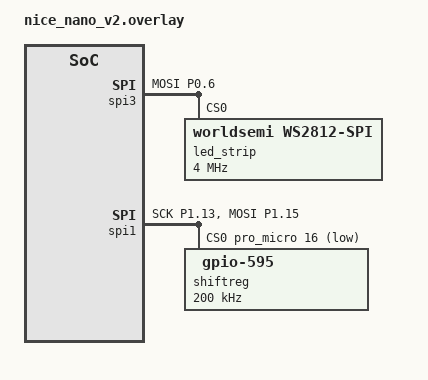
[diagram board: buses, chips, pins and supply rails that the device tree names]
#include <dt-bindings/led/led.h>

&pinctrl {
    spi3_default: spi3_default {
        group1 {
            psels = <NRF_PSEL(SPIM_MOSI, 0, 6)>;
        };
    };

    spi3_sleep: spi3_sleep {
        group1 {
            psels = <NRF_PSEL(SPIM_MOSI, 0, 6)>;
            low-power-enable;
        };
    };
    spi1_default: spi1_default{
        group1{
            psels = <NRF_PSEL(SPIM_SCK, 1, 13)>,
                    <NRF_PSEL(SPIM_MOSI, 1, 15)>;
        };
    };
    spi1_sleep: spi1_sleep{
        group1{
            psels = <NRF_PSEL(SPIM_SCK, 1, 13)>,
                    <NRF_PSEL(SPIM_MOSI, 1, 15)>;
            low-power-enable;
        };
    };
};

&spi3 {
    compatible = "nordic,nrf-spim";
    status = "okay";

    pinctrl-0 = <&spi3_default>;
    pinctrl-1 = <&spi3_sleep>;
    pinctrl-names = "default", "sleep";

    led_strip: ws2812@0 {
        compatible = "worldsemi,ws2812-spi";
        status = "okay";
        /* SPI */
        reg = <0>;
        spi-max-frequency = <4000000>;

        /* WS2812 */
        chain-length = <10>;
        spi-one-frame = <0x70>;
        spi-zero-frame = <0x40>;

        color-mapping = <LED_COLOR_ID_GREEN LED_COLOR_ID_RED LED_COLOR_ID_BLUE>;
    };
};

&spi1 {
    compatible = "nordic,nrf-spim";
    status = "okay";
    cs-gpios = <&pro_micro 16 GPIO_ACTIVE_LOW>;

    pinctrl-0 = <&spi1_default>;
    pinctrl-1 = <&spi1_sleep>;
    pinctrl-names = "default","sleep";

    shiftreg: 595@0 {
        compatible = "zmk, gpio-595";
        reg = <0>;
        status = "okay";
        spi-max-frequency = <200000>;

        gpio-controller;
        #gpio-cells = <2>;
        ngpios = <8>;
    };
};

/ {
    chosen {
        zmk,underglow = &led_strip;
    };
};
